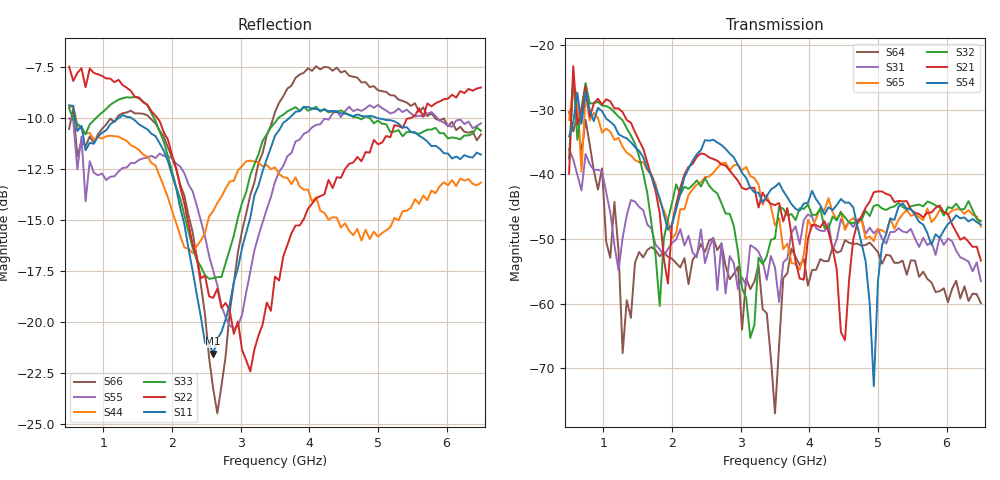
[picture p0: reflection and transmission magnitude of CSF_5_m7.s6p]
!Keysight Technologies,M9804A,MY58100912,A.14.10.03
!Date: Thursday, April 27, 2023 10:28:33
!Correction: S11(C  6-Port  )
!S12(C  6-Port  )
!S13(C  6-Port  )
!S14(C  6-Port  )
!S15(C  6-Port  )
!S16(C  6-Port  )
!S21(C  6-Port  )
!S22(C  6-Port  )
!S23(C  6-Port  )
!S24(C  6-Port  )
!S25(C  6-Port  )
!S26(C  6-Port  )
!S31(C  6-Port  )
!S32(C  6-Port  )
!S33(C  6-Port  )
!S34(C  6-Port  )
!S35(C  6-Port  )
!S36(C  6-Port  )
!S41(C  6-Port  )
!S42(C  6-Port  )
!S43(C  6-Port  )
!S44(C  6-Port  )
!S45(C  6-Port  )
!S46(C  6-Port  )
!S51(C  6-Port  )
!S52(C  6-Port  )
!S53(C  6-Port  )
!S54(C  6-Port  )
!S55(C  6-Port  )
!S56(C  6-Port  )
!S61(C  6-Port  )
!S62(C  6-Port  )
!S63(C  6-Port  )
!S64(C  6-Port  )
!S65(C  6-Port  )
!S66(C  6-Port  )
!S6P File: Measurement: :
# Hz S  RI  R 50
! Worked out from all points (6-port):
!   101 points, 500 MHz to 6.5 GHz, reference 50 ohm
!   strongest paths, dB at 500 MHz, 2 GHz, 3.5 GHz, 5 GHz, 6.5 GHz:
!     S54: -34.1, -47.8, -41.9, -56.6, -47.8
!     S21: -39.9, -47.7, -44.8, -42.6, -53.4
!     S32: -37.5, -44.4, -49.9, -44.7, -47.2
!     S65: -31.6, -50.0, -47.9, -48.5, -48.1
!     S31: -36.1, -50.6, -54.4, -48.4, -56.5
!     S64: -30.4, -53.1, -77.0, -52.1, -59.9
!   lowest |S11| = -21.6 dB at 2.6 GHz (marker M1), VSWR 1.18, Z = 42.6 + j2.06 ohm
!   |S11| at or under -10 dB: 587.8 MHz to 1.234 GHz (646.2 MHz wide, 70.9 % of centre); 1.401 GHz to 3.715 GHz (2.314 GHz wide, 90.5 % of centre); 4.972 GHz to end of sweep
